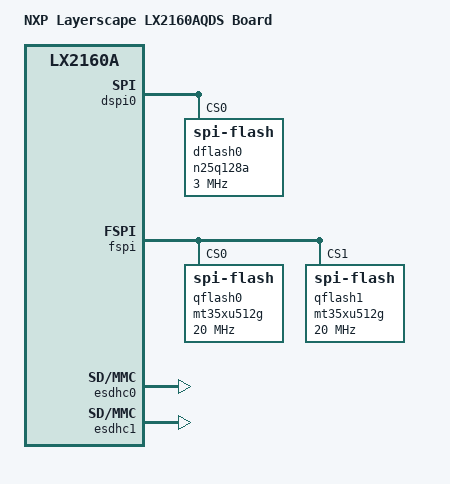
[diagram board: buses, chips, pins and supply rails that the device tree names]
/*
 * NXP LX2160AQDS device tree source
 *
 * Copyright 2018 NXP
 *
 * SPDX-License-Identifier:	GPL-2.0+	X11
 */

/dts-v1/;

#include "fsl-lx2160a.dtsi"

/ {
	model = "NXP Layerscape LX2160AQDS Board";
	compatible = "fsl,lx2160aqds", "fsl,lx2160a";

	aliases {
		spi0 = &fspi;
		spi1 = &dspi0;
	};

	chosen {
		stdout-path = &uart0;
	};
};

&dspi0 {
	bus-num = <0>;
	status = "okay";

	dflash0: n25q128a {
		#address-cells = <1>;
		#size-cells = <1>;
		compatible = "spi-flash";
		spi-max-frequency = <3000000>;
		spi-cpol;
		spi-cpha;
		reg = <0>;
	};
};

&fspi {
	bus-num = <0>;
	status = "okay";

	qflash0: mt35xu512g@0 {
		#address-cells = <1>;
		#size-cells = <1>;
		compatible = "spi-flash";
		spi-max-frequency = <20000000>; /* TODO Need to ck*/
		reg = <0>;
	};

	qflash1: mt35xu512g@1 {
		#address-cells = <1>;
		#size-cells = <1>;
		compatible = "spi-flash";
		spi-max-frequency = <20000000>; /* TODO Need to ck*/
		reg = <1>;
	};
};

&esdhc0 {
	status = "okay";
};

&esdhc1 {
	status = "okay";
};
